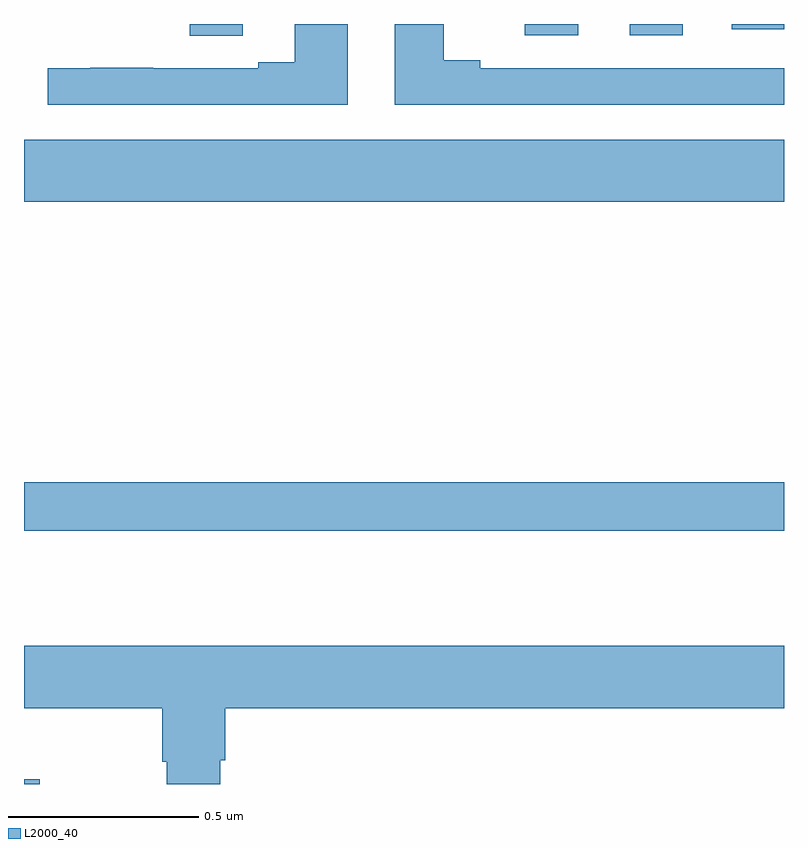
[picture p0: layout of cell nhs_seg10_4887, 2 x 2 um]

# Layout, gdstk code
import gdstk
lib = gdstk.Library(unit=1e-6, precision=1e-09)
def R(c, l, rs):  # rectangles x0, y0, x1, y1
    for r in rs: c.add(gdstk.rectangle(r[:2], r[2:], *l))
def P(c, l, *ps):  # polygons
    for p in ps: c.add(gdstk.Polygon(p, *l))
L2000_40 = (2000, 40)

nhs_seg10_4887 = lib.new_cell('nhs_seg10_4887')
R(nhs_seg10_4887, L2000_40, [(172,1249.5,172.041,1249.512), (172,1250.166,174,1250.294), (172,1251.032,174,1251.196), (172.436,1251.469,172.575,1251.5), (173.318,1251.471,173.458,1251.5), (173.594,1251.471,173.734,1251.5), (173.862,1251.486,174,1251.5)])
P(nhs_seg10_4887, L2000_40, [(172.852,1251.5),(172.712,1251.5),(172.712,1251.399),(172.616,1251.399),(172.616,1251.384),(172.34,1251.384),(172.34,1251.385),(172.174,1251.385),(172.174,1251.384),(172.062,1251.384),(172.062,1251.288),(172.852,1251.288)],
  [(174,1251.384),(173.2,1251.384),(173.2,1251.404),(173.104,1251.404),(173.104,1251.5),(172.976,1251.5),(172.976,1251.288),(174,1251.288)],
  [(172.516,1249.563),(172.529,1249.563),(172.529,1249.7),(174,1249.7),(174,1249.864),(172,1249.864),(172,1249.7),(172.364,1249.7),(172.364,1249.558),(172.376,1249.558),(172.376,1249.5),(172.516,1249.5)])

lib.write_gds('nhs_seg10_4887.gds')
